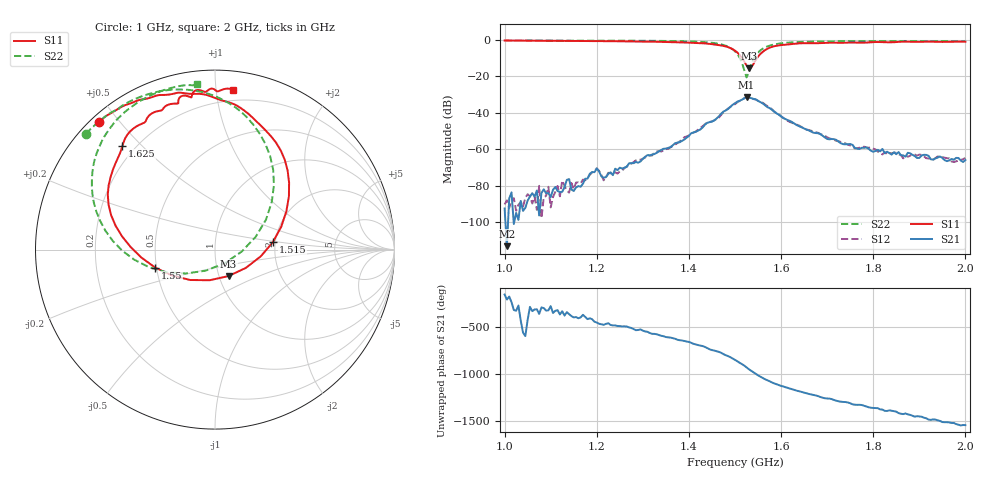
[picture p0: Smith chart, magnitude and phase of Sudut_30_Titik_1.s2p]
# Hz S RI R 50
! CMT, C1220, 16058040, 17.2.0/1
! Date: 14/08/2018 12:53:55
! Data: Format (Calibration Info)
! Freq  S11: Re/Im (F2)  S21: Re/Im (F2)  S12: Re/Im (F2)  S22: Re/Im (F2)
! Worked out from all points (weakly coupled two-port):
!   201 points, 1 GHz to 2 GHz, reference 50 ohm
!   highest |S21| = -31.43 dB at 1.525 GHz (marker M1); lowest = -113.1 dB at 1.005 GHz (marker M2)
!   lowest |S11| = -15.6 dB at 1.53 GHz (marker M3), VSWR 1.40, Z = 55.5 - j16.8 ohm
!   |S11| at or under -10 dB: 1.516 GHz to 1.548 GHz (32.18 MHz wide, 2.1 % of centre)
!   |S22| runs from -20.5 to -0.3 dB; largest |S21 - S12| = 0.0012
!   S11 on the Smith chart (normalised r, x): 1 GHz: 0.02, +0.44; 1.515 GHz: 1.94, +0.18; 1.55 GHz: 0.49, -0.11; 1.625 GHz: 0.15, +0.44; 2 GHz: 0.13, +1.11
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1e9  -0.6454 0.7135  -2.1e-05 -1.14e-05  6.6e-06 -3.01e-05  -0.7194 0.6451
1.005e9  -0.639 0.7183  -2.01e-06 9.21e-07  -2.36e-05 -3.22e-05  -0.7156 0.6491
1.13e9  -0.5 0.8051  8.83e-05 -2.49e-05  9.57e-05 -3.38e-05  -0.6172 0.7374
1.14e9  -0.4866 0.8097  0.000153 -3.33e-06  6.23e-05 -1.86e-05  -0.6074 0.7443
1.15e9  -0.4754 0.8132  5.84e-05 -4.25e-05  7.98e-05 -1.4e-05  -0.5977 0.7512
1.17e9  -0.4514 0.8226  0.000113 -1.57e-05  0.000117 -9.12e-05  -0.5771 0.7649
1.2e9  -0.4059 0.8365  -2.05e-06 -0.000297  -6.63e-05 -0.000296  -0.5436 0.777
1.215e9  -0.384 0.8402  -6.99e-05 -0.000152  -3.86e-05 -0.000136  -0.5357 0.7853
1.225e9  -0.3672 0.8444  -2.89e-05 -0.00021  -2e-05 -0.000227  -0.5259 0.7953
1.335e9  -0.168 0.8705  -0.000636 0.000613  -0.000629 0.000637  -0.3608 0.8694
1.45e9  0.2091 0.7356  0.00521 -0.0024  0.00517 -0.00271  0.0465 0.8331
1.5e9  0.4118 0.2969  -0.0117 -0.0142  -0.011 -0.0133  0.3285 0.3594
1.515e9  0.3217 0.0404  -0.0228 -0.00221  -0.023 -0.0029  0.2272 0.0718
1.525e9  0.1722 -0.1017  -0.0234 0.0131  -0.0237 0.0131  0.0564 -0.075
1.53e9  0.0756 -0.1474  -0.0171 0.0198  -0.0173 0.0199  -0.052 -0.1174
1.55e9  -0.3336 -0.0998  0.00889 0.0194  0.00813 0.0198  -0.4496 -0.0562
1.58e9  -0.5929 0.2499  0.012 -0.00217  0.0123 -0.00269  -0.6759 0.2648
1.625e9  -0.5157 0.578  0.000341 -0.00546  0.000513 -0.00526  -0.6496 0.5609
1.67e9  -0.3969 0.7057  -0.0023 -0.0017  -0.0025 -0.00184  -0.5671 0.7001
1.76e9  -0.2384 0.8124  -0.000403 0.00101  -0.000449 0.00096  -0.4213 0.8253
1.835e9  -0.132 0.848  0.000492 0.000613  0.000591 0.00054  -0.3159 0.8775
2e9  0.1007 0.8875  -0.000148 -0.000487  -0.000153 -0.000561  -0.0987 0.922
